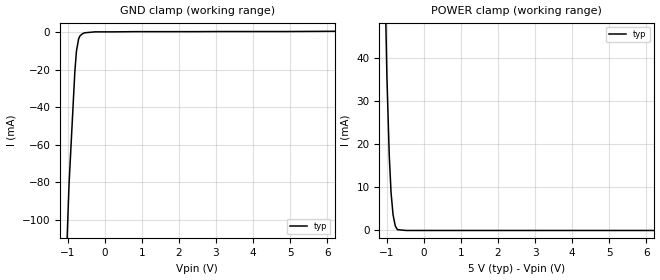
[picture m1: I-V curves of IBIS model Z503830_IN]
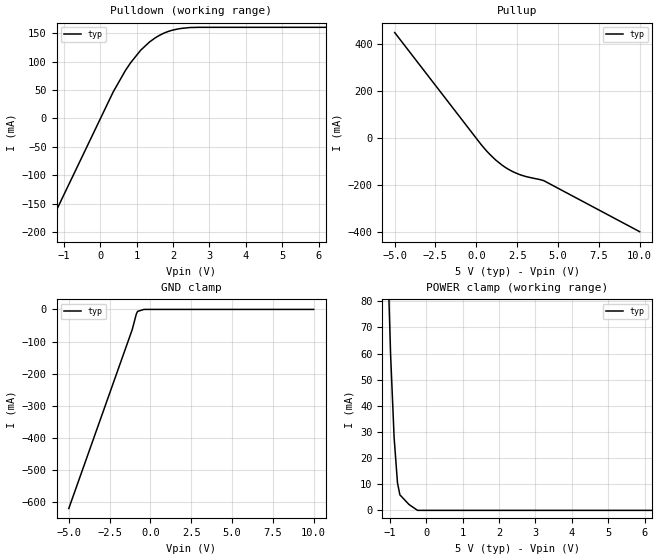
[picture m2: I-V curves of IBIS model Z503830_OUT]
| YOU ARE ONLY AUTHORIZED TO USE THIS SOFTWARE
| ACCORDING TO LICENSOR'S LICENSE RESTRICTIONS.
[IBIS Ver] 3.1
[File Name] mc74act14d.ibs
[File Rev] 2.0
[Source] Measured and created by ICX Technology
[Date] Friday 7/14/00 9:08:01 AM
[Copyright]
| (C) COPYRIGHT 1993-2000
| MENTOR GRAPHICS CORPORATION
| ICX STANDARD LIBRARY, ICX PROJECT MODELING,
| ICX CUSTOM MODELING, ICX VENDOR MODEL
| ALL RIGHTS RESERVED.
| THE FOLLOWING ARE TRADEMARKS OR SERVICE MARKS OF
| MENTOR GRAPHICS CORPORATION:ICX (R), ICX STANDARD
| LIBRARY(R), ICX PROJECT MODELING(R), ICX CUSTOM
| MODELING(R), qualityIBIS(TM), MODELVIEWER(TM),
| AND MODELEDITOR(TM)
| ALL COPIES OF SOFTWARE, INCLUDING BUT NOT LIMITED TO
| ANY MODIFICATIONS, ENHANCEMENTS OR DERIVATIVE WORKS,
| MUST CONTAIN ALL MENTOR GRAPHICS CORPORATION'S
| NOTICES AND LEGENDS, INCLUDING THOSE EMBEDDED IN
| SOFTWARE AND THOSE AFFIXED TO SOFTWARE MEDIUM
| AND CONTAINER, AS RECEIVED FROM MENTOR GRAPHICS
| CORPORATION.
|  ZAP Model Builder 2.7
[Component] MC74ACT14D
[Manufacturer] OnSemiconductor
[Package]
| variable   typ   min   max
R_pkg  .155ohms NA NA
L_pkg  3.028nH NA NA
C_pkg  .381pF NA NA
[Pin] signal_name  model_name  R_pin  L_pin C_pin
1 A Z503830_IN .16 3.587n .407p
2 Y Z503830_OUT .156 3.147n .387p
3 A Z503830_IN .152 2.717n .367p
4 Y Z503830_OUT .148 2.297n .347p
5 A Z503830_IN .152 2.717n .367p
6 Y Z503830_OUT .156 3.147n .387p
7 GROUND GND .16 3.587n .407p
8 Y Z503830_OUT .16 3.587n .407p
9 A Z503830_IN .156 3.147n .387p
10 Y Z503830_OUT .152 2.717n .367p
11 A Z503830_IN .148 2.297n .347p
12 Y Z503830_OUT .152 2.717n .367p
13 A Z503830_IN .156 3.147n .387p
14 VCC POWER .16 3.587n .407p
| Models and submodels in the file (2): Z503830_IN (Input), Z503830_OUT (Output)
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| (C) COPYRIGHT 1993-2000
| MENTOR GRAPHICS CORPORATION
| ICX STANDARD LIBRARY, ICX PROJECT MODELING,
| ICX CUSTOM MODELING, ICX VENDOR MODEL
| ALL RIGHTS RESERVED.
| THE FOLLOWING ARE TRADEMARKS OR SERVICE MARKS OF
| MENTOR GRAPHICS CORPORATION:ICX (R), ICX STANDARD
| LIBRARY(R), ICX PROJECT MODELING(R), ICX CUSTOM
| MODELING(R), qualityIBIS(TM), MODELVIEWER(TM),
| AND MODELEDITOR(TM)
| ALL COPIES OF SOFTWARE, INCLUDING BUT NOT LIMITED TO
| ANY MODIFICATIONS, ENHANCEMENTS OR DERIVATIVE WORKS,
| MUST CONTAIN ALL MENTOR GRAPHICS CORPORATION'S
| NOTICES AND LEGENDS, INCLUDING THOSE EMBEDDED IN
| SOFTWARE AND THOSE AFFIXED TO SOFTWARE MEDIUM
| AND CONTAINER, AS RECEIVED FROM MENTOR GRAPHICS
| CORPORATION.
| Model Application Version 1.89 2/18/99.
[Model] Z503830_IN
Model_type Input
Vinl = 800.0mV
Vinh = 2.000V
C_comp 4.000pF NA NA
| variable typ   min   max
[Voltage Range] 5.000V NA NA
[GND Clamp Reference] 0.000V NA NA
[POWER Clamp Reference] 5.000V NA NA
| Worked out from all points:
|   GND clamp passes 1 mA (typ) near -0.60 V on its own axis
|   POWER clamp passes 1 mA (typ) near -0.77 V on its own axis
[GND Clamp]
-5V       -1.637A    NA         NA
-1.315V   -279mA     NA         NA
-960.8mV  -81.32mA   NA         NA
-805.7mV  -21.75mA   NA         NA
-761.6mV  -10.3mA    NA         NA
-703.1mV  -3.708mA   NA         NA
-664.2mV  -2.021mA   NA         NA
-571mV    -651.5uA   NA         NA
-266mV    114.7uA    NA         NA
10V       826.7uA    NA         NA
[POWER Clamp]
-5V       2.325A     NA         NA
-1.118V   88.75mA    NA         NA
-996mV    35.63mA    NA         NA
-933mV    17.49mA    NA         NA
-884mV    8.775mA    NA         NA
-830mV    3.615mA    NA         NA
-770mV    1.045mA    NA         NA
-713mV    193.8uA    NA         NA
-475.3mV  0A         NA         NA
10V       0A         NA         NA
| (C) COPYRIGHT 1993-2000
| MENTOR GRAPHICS CORPORATION
| ICX STANDARD LIBRARY, ICX PROJECT MODELING,
| ICX CUSTOM MODELING, ICX VENDOR MODEL
| ALL RIGHTS RESERVED.
| THE FOLLOWING ARE TRADEMARKS OR SERVICE MARKS OF
| MENTOR GRAPHICS CORPORATION:ICX (R), ICX STANDARD
| LIBRARY(R), ICX PROJECT MODELING(R), ICX CUSTOM
| MODELING(R), qualityIBIS(TM), MODELVIEWER(TM),
| AND MODELEDITOR(TM)
| ALL COPIES OF SOFTWARE, INCLUDING BUT NOT LIMITED TO
| ANY MODIFICATIONS, ENHANCEMENTS OR DERIVATIVE WORKS,
| MUST CONTAIN ALL MENTOR GRAPHICS CORPORATION'S
| NOTICES AND LEGENDS, INCLUDING THOSE EMBEDDED IN
| SOFTWARE AND THOSE AFFIXED TO SOFTWARE MEDIUM
| AND CONTAINER, AS RECEIVED FROM MENTOR GRAPHICS
| CORPORATION.
| Model Application Version 1.89 2/18/99.
[Model] Z503830_OUT
Model_type Output
Vref=0.000V
Rref=500.0ohms
Cref=50.00pF
Vmeas=1.500V
C_comp 8.000pF NA NA
| variable typ   min   max
[Voltage Range] 5.000V NA NA
[POWER Clamp Reference] 5.000V NA NA
[Pullup Reference] 5.000V NA NA
[Pulldown Reference] 0.000V NA NA
[GND Clamp Reference] 0.000V NA NA
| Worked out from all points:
|   slope of the pulldown table from 0 to 0.75 V, typ, clamps not added: 8.24 ohm
|   slope of the pullup table from 0 to 0.75 V, typ, clamps not added: 12 ohm
|   POWER clamp passes 1 mA (typ) near -0.34 V on its own axis
[GND Clamp]
-5V       -620.1mA   NA         NA
-1.114V   -62.99mA   NA         NA
-866.2mV  -14.95mA   NA         NA
-786mV    -6.185mA   NA         NA
-393mV    0A         NA         NA
10V       0A         NA         NA
[Pulldown]
-5V       -670.1mA   NA         NA
356.6mV   46.69mA    NA         NA
693.7mV   84.65mA    NA         NA
835.7mV   98.17mA    NA         NA
1.114V    120.4mA    NA         NA
1.357V    134.9mA    NA         NA
1.758V    150.6mA    NA         NA
2.149V    157.9mA    NA         NA
2.662V    160.6mA    NA         NA
10V       160.6mA    NA         NA
[Pullup]
-5V       448.3mA    NA         NA
293mV     -28.23mA   NA         NA
806mV     -68.62mA   NA         NA
1.196V    -94.69mA   NA         NA
1.802V    -126.6mA   NA         NA
2.358V    -147.5mA   NA         NA
3.02V     -164.1mA   NA         NA
4.144V    -182.4mA   NA         NA
10V       -398.9mA   NA         NA
[POWER Clamp]
-5V       1.933A     NA         NA
-976mV    59.69mA    NA         NA
-879mV    27.82mA    NA         NA
-787mV    10.57mA    NA         NA
-721mV    5.937mA    NA         NA
-469mV    2.223mA    NA         NA
-234.5mV  0A         NA         NA
10V       0A         NA         NA
[Ramp]
| variable typ min max
dV/dt_r 2.942/409.4p NA NA
dV/dt_f 2.942/431.0p NA NA
R_load = 500.0Ohms
